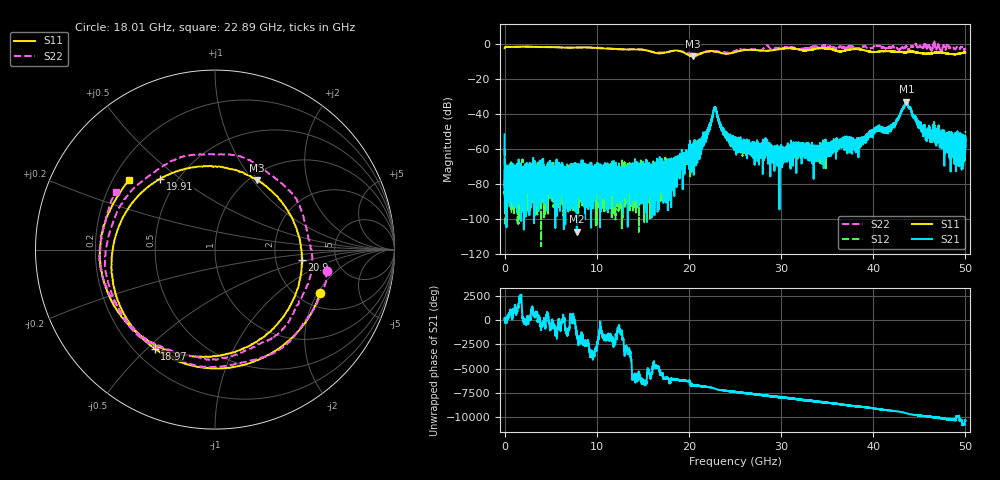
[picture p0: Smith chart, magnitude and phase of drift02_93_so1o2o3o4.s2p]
!Created with skrf (http://scikit-rf.org).
# Hz S RI R 50.0
!freq ReS11 ImS11 ReS21 ImS21 ReS12 ImS12 ReS22 ImS22
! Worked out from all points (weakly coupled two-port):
!   10001 points, 300 kHz to 50 GHz, reference 50 ohm
!   highest |S21| = -32.75 dB at 43.61 GHz (marker M1); lowest = -107.2 dB at 7.835 GHz (marker M2)
!   lowest |S11| = -6.9 dB at 20.41 GHz (marker M3), VSWR 2.64, Z = 53.9 + j52.3 ohm
!   |S11| at or under -10 dB: nowhere
!   |S22| runs from -5.7 to 2.2 dB; largest |S21 - S12| = 0.0035
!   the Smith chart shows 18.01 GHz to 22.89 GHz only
!   S11 on the Smith chart (normalised r, x): 18.01 GHz: 2.59, -2.09; 18.97 GHz: 0.28, -0.53; 19.91 GHz: 0.40, +0.43; 20.9 GHz: 2.83, -0.43; 22.89 GHz: 0.27, +0.33
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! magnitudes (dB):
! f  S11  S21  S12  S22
! 300 kHz  -2.1  -51.5  -59.6  -2.0
! 285.3 MHz  -1.4  -76.6  -78.1  -1.4
! 7.835 GHz  -1.8  -107.2  -87.0  -1.9
! 8.335 GHz  -1.7  -81.5  -72.2  -1.9
! 16.67 GHz  -5.2  -77.0  -73.9  -4.7
! 18.01 GHz  -4.0  -75.2  -66.9  -4.0
! 18.97 GHz  -3.8  -68.3  -70.4  -3.9
! 19.91 GHz  -6.0  -63.0  -65.6  -5.2
! 20.41 GHz  -6.9  -62.2  -63.5  -5.4
! 20.9 GHz  -6.2  -58.3  -61.0  -5.6
! 22.89 GHz  -4.2  -36.8  -36.7  -3.9
! 23.79 GHz  -5.3  -49.9  -51.4  -4.6
! 25 GHz  -4.5  -54.2  -54.2  -3.8
! 29.82 GHz  -2.8  -79.5  -63.1  -2.0
! 33.34 GHz  -3.0  -59.3  -63.8  -1.6
! 38.23 GHz  -2.7  -55.2  -56.6  -2.3
! 41.67 GHz  -3.9  -47.3  -47.4  -2.0
! 43.61 GHz  -4.5  -32.8  -33.6  -1.6
! 45.84 GHz  -5.4  -53.9  -51.5  -2.7
! 48.61 GHz  -5.6  -56.0  -56.4  -1.5
! 49.75 GHz  -4.8  -57.9  -58.7  -2.4
! 50 GHz  -4.7  -54.9  -49.8  -2.7
